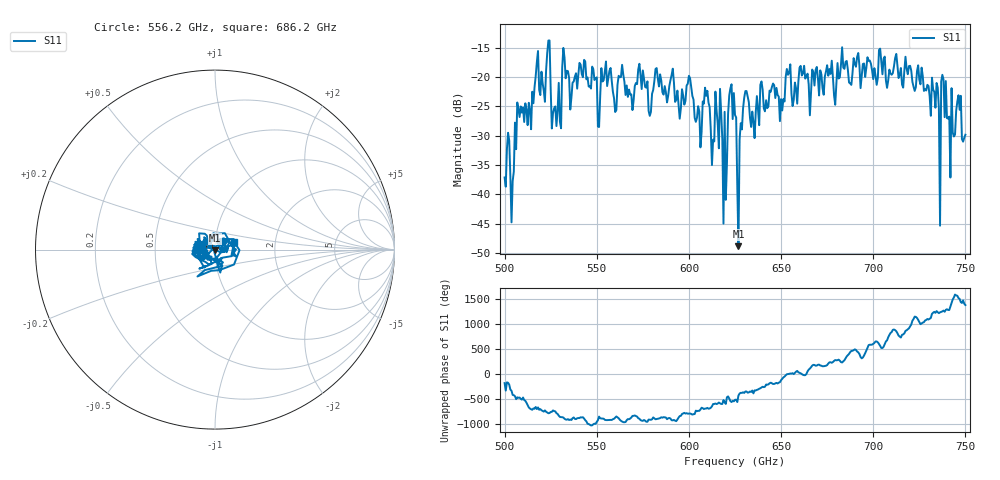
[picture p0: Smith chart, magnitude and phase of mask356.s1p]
!Created with skrf (http://scikit-rf.org).
# GHz S MA R 50.0
!freq magS11 angS11
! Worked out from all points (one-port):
!   401 points, 500 GHz to 750 GHz, reference 50 ohm
!   lowest |S11| = -48.9 dB at 626.9 GHz (marker M1), VSWR 1.01, Z = 50.2 - j0.328 ohm
!   |S11| at or under -10 dB: start of sweep to end of sweep
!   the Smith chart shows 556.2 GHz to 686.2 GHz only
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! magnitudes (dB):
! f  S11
! 500 GHz  -37.1
! 504.4 GHz  -37.8
! 508.1 GHz  -26.8
! 513.1 GHz  -24.4
! 517.5 GHz  -17.5
! 523.8 GHz  -13.8
! 526.9 GHz  -25.3
! 531.2 GHz  -18.4
! 562.5 GHz  -20.1
! 593.8 GHz  -22.3
! 610 GHz  -22.4
! 612.5 GHz  -35.0
! 616.2 GHz  -32.2
! 619.4 GHz  -26.0
! 622.5 GHz  -21.9
! 625 GHz  -26.5
! 626.9 GHz  -48.9
! 630.6 GHz  -22.4
! 634.4 GHz  -25.9
! 656.2 GHz  -25.0
! 687.5 GHz  -21.1
! 718.8 GHz  -19.5
! 733.8 GHz  -25.3
! 735 GHz  -21.8
! 738.1 GHz  -20.4
! 743.1 GHz  -29.5
! 746.2 GHz  -23.1
! 750 GHz  -29.9
